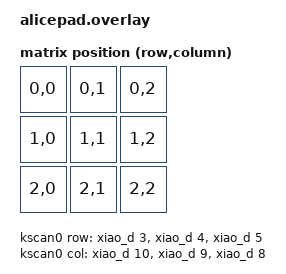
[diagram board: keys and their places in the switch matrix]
#include "alicepad-layouts.dtsi"
#include <dt-bindings/zmk/matrix_transform.h>

/ {
    chosen {
        zmk,kscan = &kscan0;
        zmk,physical-layout = &physical_layout0;
    };

    kscan0: kscan0 {
        compatible = "zmk,kscan-gpio-matrix";
        diode-direction = "col2row";
        wakeup-source;

        row-gpios
            = <&xiao_d 3 GPIO_ACTIVE_LOW>
            , <&xiao_d 4 GPIO_ACTIVE_LOW>
            , <&xiao_d 5 GPIO_ACTIVE_LOW>
            ;

        col-gpios
            = <&xiao_d 10 (GPIO_ACTIVE_LOW | GPIO_PULL_UP)>
            , <&xiao_d 9  (GPIO_ACTIVE_LOW | GPIO_PULL_UP)>
            , <&xiao_d 8  (GPIO_ACTIVE_LOW | GPIO_PULL_UP)>
            ;
    };


    default_transform: keymap_transform0 {
        compatible = "zmk,matrix-transform";
        columns = <3>;
        rows = <3>;
        map = <
            RC(0,0) RC(0,1) RC(0,2)
            RC(1,0) RC(1,1) RC(1,2)
            RC(2,0) RC(2,1) RC(2,2)
        >;
    };
};

&physical_layout0 {
    kscan = <&kscan0>;
    transform = <&default_transform>;
};
